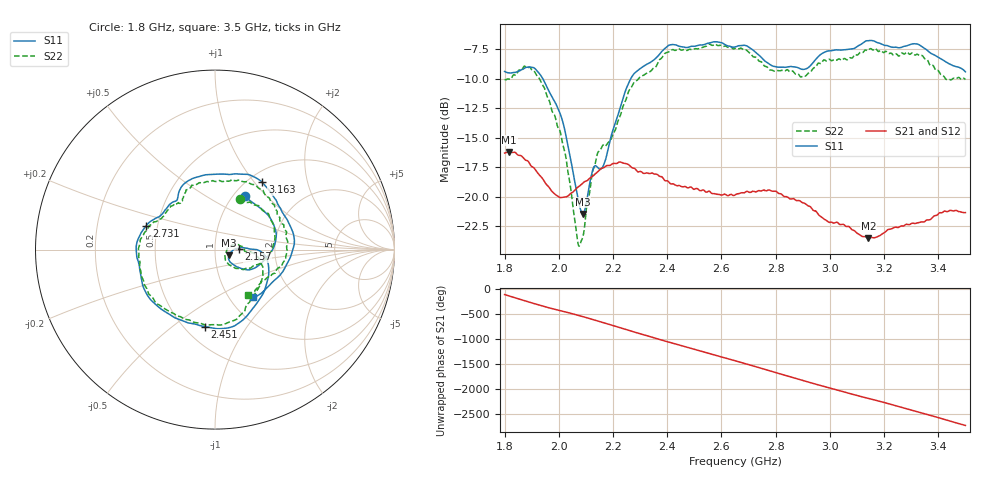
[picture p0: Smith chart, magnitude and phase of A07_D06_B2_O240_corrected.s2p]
! Created with skrf 1.9.0 (http://scikit-rf.org).
# Hz S RI R 50.0
!freq ReS11 ImS11 ReS21 ImS21 ReS12 ImS12 ReS22 ImS22
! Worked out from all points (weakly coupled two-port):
!   1601 points, 1.8 GHz to 3.5 GHz, reference 50 ohm
!   highest |S21| = -16.21 dB at 1.817 GHz (marker M1); lowest = -23.6 dB at 3.142 GHz (marker M2)
!   lowest |S11| = -21.5 dB at 2.089 GHz (marker M3), VSWR 1.18, Z = 58.4 - j3.64 ohm
!   |S11| at or under -10 dB: 1.941 GHz to 2.265 GHz (323.6 MHz wide, 15.4 % of centre)
!   |S22| runs from -24.2 to -7.0 dB; largest |S21 - S12| = 0.0026
!   S11 on the Smith chart (normalised r, x): 1.8 GHz: 1.13, +0.76; 2.157 GHz: 1.30, +0.01; 2.451 GHz: 0.63, -0.66; 2.731 GHz: 0.43, +0.14; 3.163 GHz: 1.16, +1.10; 3.5 GHz: 1.27, -0.77
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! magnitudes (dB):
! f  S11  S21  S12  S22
! 1.8 GHz  -9.4  -16.3  -16.3  -10.0
! 1.817 GHz  -9.5  -16.2  -16.2  -10.0
! 1.888 GHz  -9.0  -17.0  -17.1  -9.0
! 1.943 GHz  -10.1  -18.6  -18.6  -10.6
! 2.013 GHz  -13.5  -20.1  -20.1  -15.3
! 2.069 GHz  -19.9  -19.2  -19.2  -23.7
! 2.084 GHz  -21.3  -19.0  -18.9  -23.7
! 2.089 GHz  -21.5  -18.8  -18.9  -23.4
! 2.127 GHz  -17.6  -18.2  -18.2  -17.7
! 2.157 GHz  -17.6  -17.6  -17.6  -15.9
! 2.197 GHz  -14.5  -17.2  -17.2  -14.8
! 2.262 GHz  -10.1  -17.4  -17.4  -10.9
! 2.367 GHz  -8.0  -18.2  -18.1  -8.5
! 2.451 GHz  -7.3  -19.1  -19.1  -7.6
! 2.65 GHz  -7.3  -19.9  -19.8  -7.4
! 2.731 GHz  -7.8  -19.6  -19.6  -8.2
! 2.934 GHz  -8.7  -21.0  -21.0  -9.3
! 3.142 GHz  -6.8  -23.6  -23.4  -7.6
! 3.163 GHz  -6.8  -23.5  -23.5  -7.5
! 3.217 GHz  -7.2  -22.8  -22.8  -7.8
! 3.325 GHz  -7.1  -22.2  -22.2  -7.9
! 3.5 GHz  -9.4  -21.4  -21.3  -10.1
